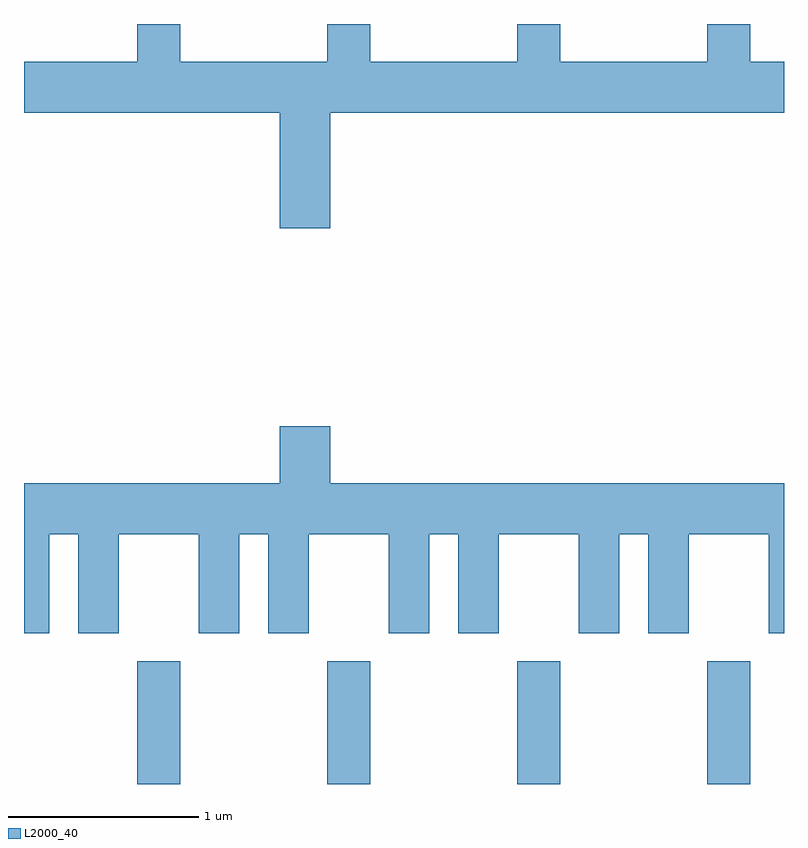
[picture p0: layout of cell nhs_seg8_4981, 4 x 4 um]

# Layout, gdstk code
import gdstk
lib = gdstk.Library(unit=1e-6, precision=1e-09)
def R(c, l, rs):  # rectangles x0, y0, x1, y1
    for r in rs: c.add(gdstk.rectangle(r[:2], r[2:], *l))
def A(c, l, x, y, w, h, nx, ny, dx, dy):  # array of equal rectangles
    R(c, l, [(x+i*dx, y+j*dy, x+i*dx+w, y+j*dy+h) for i in range(nx) for j in range(ny)])
def P(c, l, *ps):  # polygons
    for p in ps: c.add(gdstk.Polygon(p, *l))
L2000_40 = (2000, 40)

nhs_seg8_4981 = lib.new_cell('nhs_seg8_4981')
A(nhs_seg8_4981, L2000_40, 334.206, 1928.342, 0.228, 0.647, 4, 1, 1, 0)
P(nhs_seg8_4981, L2000_40, [(335.224,1931.876),(337.611,1931.876),(337.611,1932.144),(337.434,1932.144),(337.434,1932.342),(337.206,1932.342),(337.206,1932.144),(336.434,1932.144),(336.434,1932.342),(336.206,1932.342),(336.206,1932.144),(335.434,1932.144),(335.434,1932.342),(335.206,1932.342),(335.206,1932.144),(334.434,1932.144),(334.434,1932.342),(334.206,1932.342),(334.206,1932.144),(333.611,1932.144),(333.611,1931.876),(334.956,1931.876),(334.956,1931.266),(335.224,1931.266)],
  [(333.744,1929.656),(333.896,1929.656),(333.896,1929.136),(334.109,1929.136),(334.109,1929.656),(334.531,1929.656),(334.531,1929.136),(334.744,1929.136),(334.744,1929.656),(334.896,1929.656),(334.896,1929.136),(335.109,1929.136),(335.109,1929.656),(335.531,1929.656),(335.531,1929.136),(335.744,1929.136),(335.744,1929.656),(335.896,1929.656),(335.896,1929.136),(336.109,1929.136),(336.109,1929.656),(336.531,1929.656),(336.531,1929.136),(336.744,1929.136),(336.744,1929.656),(336.896,1929.656),(336.896,1929.136),(337.109,1929.136),(337.109,1929.656),(337.531,1929.656),(337.531,1929.136),(337.611,1929.136),(337.611,1929.924),(335.224,1929.924),(335.224,1930.224),(334.956,1930.224),(334.956,1929.924),(333.611,1929.924),(333.611,1929.136),(333.744,1929.136)])

lib.write_gds('nhs_seg8_4981.gds')
